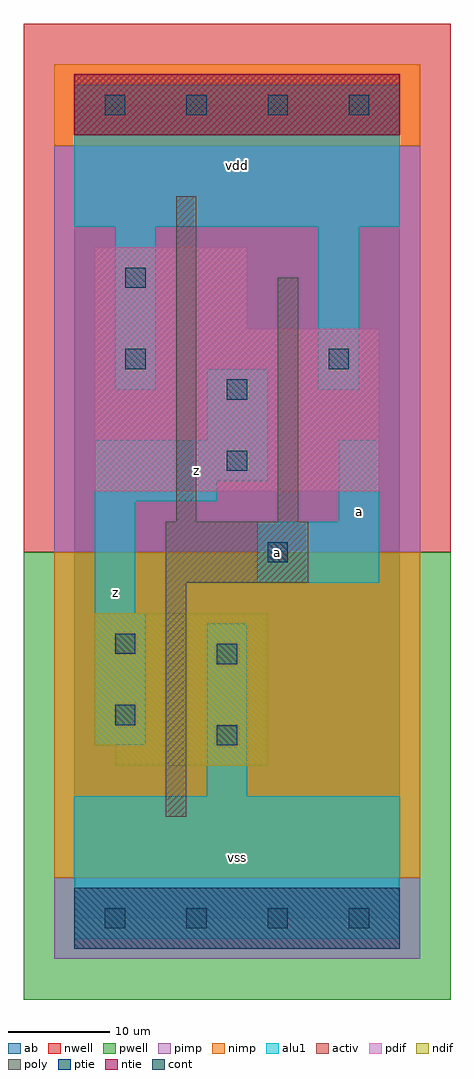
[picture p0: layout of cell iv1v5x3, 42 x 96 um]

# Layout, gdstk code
import gdstk
lib = gdstk.Library(unit=1e-6, precision=1e-09)
def R(c, l, rs):  # rectangles x0, y0, x1, y1
    for r in rs: c.add(gdstk.rectangle(r[:2], r[2:], *l))
def A(c, l, x, y, w, h, nx, ny, dx, dy):  # array of equal rectangles
    R(c, l, [(x+i*dx, y+j*dy, x+i*dx+w, y+j*dy+h) for i in range(nx) for j in range(ny)])
ndif = (3, 0)
pdif = (4, 0)
ntie = (5, 0)
ptie = (6, 0)
cont = (25, 0)
pwell = (41, 0)
nwell = (42, 0)
activ = (43, 0)
pimp = (44, 0)
nimp = (45, 0)
poly = (46, 0)
alu1 = (49, 0)
ab = (63, 0)

iv1v5x3 = lib.new_cell('iv1v5x3')
R(iv1v5x3, ndif, [(4,15,19,17), (2,17,19,30)])
R(iv1v5x3, pdif, [(2,42,30,58), (2,58,17,66)])
R(iv1v5x3, ntie, [(0,77,32,83)])
R(iv1v5x3, ptie, [(0,-3,32,3)])
A(iv1v5x3, cont, 3, -1, 2, 2, 4, 2, 8, 80)
R(iv1v5x3, cont, [(14,17,16,19), (4,19,6,21), (14,25,16,27), (4,26,6,28), (19,35,21,37), (15,44,17,46), (15,51,17,53), (5,54,7,56), (25,54,27,56), (5,62,7,64)])
R(iv1v5x3, pwell, [(-5,-8,37,36)])
R(iv1v5x3, nwell, [(-5,36,37,88)])
R(iv1v5x3, activ, [(0,-3,32,3), (4,15,19,17), (2,17,19,30), (2,42,30,58), (2,58,17,66), (0,77,32,83)])
R(iv1v5x3, pimp, [(-2,-4,34,4), (-2,36,34,76)])
R(iv1v5x3, nimp, [(-2,4,34,36), (-2,76,34,84)])
R(iv1v5x3, poly, [(9,10,11,33), (9,33,23,39), (10,39,12,71), (20,39,22,63)])
R(iv1v5x3, alu1, [(0,-2,32,12), (13,12,17,29), (2,17,7,30), (2,30,6,41), (18,33,30,39), (26,39,30,47), (2,41,14,43), (2,43,19,47), (13,47,19,54), (4,52,8,68), (24,52,28,68), (0,68,32,82)])
R(iv1v5x3, ab, [(0,0,32,80)])
iv1v5x3.add(gdstk.Label('z', (4,32), layer=49, texttype=0))
iv1v5x3.add(gdstk.Label('vss', (16,6), layer=49, texttype=0))
iv1v5x3.add(gdstk.Label('z', (12,44), layer=49, texttype=0))
iv1v5x3.add(gdstk.Label('vdd', (16,74), layer=49, texttype=0))
iv1v5x3.add(gdstk.Label('a', (20,36), layer=49, texttype=0))
iv1v5x3.add(gdstk.Label('a', (28,40), layer=49, texttype=0))

lib.write_gds('iv1v5x3.gds')
